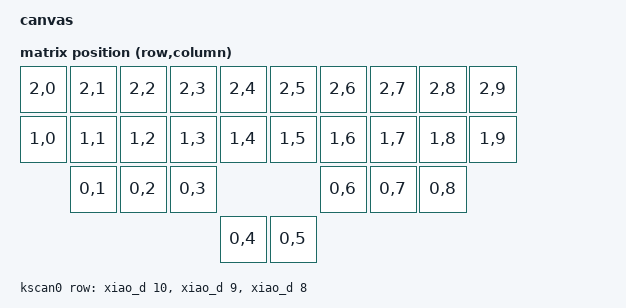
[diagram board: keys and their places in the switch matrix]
#include <dt-bindings/zmk/matrix_transform.h>

/ {
    model = "canvas";

    chosen {
        zmk,kscan = &kscan0;
        zmk,matrix_transform = &default_transform;
    };

    default_transform: keymap_transform0 {
        compatible = "zmk,matrix-transform";
        columns = <10>;
        rows = <3>;
        map =  <
            RC(2,0)  RC(2,1)  RC(2,2)  RC(2,3)  RC(2,4)  RC(2,5)  RC(2,6)  RC(2,7)  RC(2,8)  RC(2,9)
            RC(1,0)  RC(1,1)  RC(1,2)  RC(1,3)  RC(1,4)  RC(1,5)  RC(1,6)  RC(1,7)  RC(1,8)  RC(1,9)
                     RC(0,1)  RC(0,2)  RC(0,3)                    RC(0,6)  RC(0,7)  RC(0,8)
                                                RC(0,4)  RC(0,5)
        >;
    };

    kscan0: kscan0 {
        compatible = "zmk,kscan-gpio-matrix";
        diode-direction = "col2row";
        debounce-press-ms = <1>;
        debounce-release-ms = <5>;
        wakeup-source;
        row-gpios = <&xiao_d 10 (GPIO_ACTIVE_HIGH | GPIO_PULL_DOWN)>,
                    <&xiao_d 9  (GPIO_ACTIVE_HIGH | GPIO_PULL_DOWN)>,
                    <&xiao_d 8  (GPIO_ACTIVE_HIGH | GPIO_PULL_DOWN)>;
    };
};

&pinctrl {
    i2c0_default: i2c0_default {
        group1 {
            psels = <NRF_PSEL(TWIM_SDA, 0, 4)>,
                    <NRF_PSEL(TWIM_SCL, 0, 5)>;
            bias-pull-up;
        };
    };

    i2c0_sleep: i2c0_sleep {
        group1 {
            psels = <NRF_PSEL(TWIM_SDA, 0, 4)>,
                    <NRF_PSEL(TWIM_SCL, 0, 5)>;
            low-power-enable;
        };
    };
};

&xiao_i2c {
    status = "okay";
    compatible = "nordic,nrf-twim";

    drv2605_0: drv2605@5a {
        compatible = "ti,drv2605";
        reg = <0x5a>;
        library = <6>;  // LRA
        standby-ms = <1000>;
    };
};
